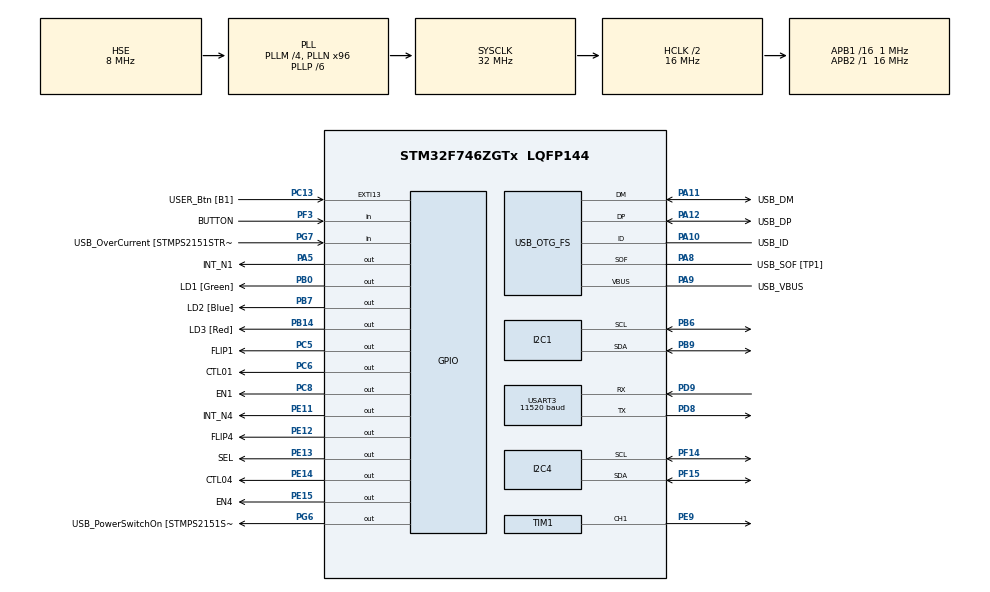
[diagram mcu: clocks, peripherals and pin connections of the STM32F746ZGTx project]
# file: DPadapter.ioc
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I2C1.Timing=0x00000103
I2C4.Timing=0x00000103
Mcu.Family=STM32F7
Mcu.Name=STM32F746ZGTx
Mcu.Package=LQFP144
NVIC.PriorityGroup=NVIC_PRIORITYGROUP_4
PA10.GPIO_Label=USB_ID
PA10.Mode=OTG/Dual_Role_Device
PA10.Signal=USB_OTG_FS_ID
PA11.GPIO_Label=USB_DM
PA11.Mode=OTG/Dual_Role_Device
PA11.Signal=USB_OTG_FS_DM
PA12.GPIO_Label=USB_DP
PA12.Mode=OTG/Dual_Role_Device
PA12.Signal=USB_OTG_FS_DP
PA13.GPIO_Label=TMS
PA13.Mode=Serial_Wire
PA13.Signal=SYS_JTMS-SWDIO
PA14.GPIO_Label=TCK
PA14.Mode=Serial_Wire
PA14.Signal=SYS_JTCK-SWCLK
PA5.GPIO_Label=INT_N1
PA5.Signal=GPIO_Output
PA8.GPIO_Label=USB_SOF [TP1]
PA8.Mode=Activate_SOF_FS
PA8.Signal=USB_OTG_FS_SOF
PA9.GPIO_Label=USB_VBUS
PA9.Mode=Activate_VBUS
PA9.Signal=USB_OTG_FS_VBUS
PB0.GPIO_Label=LD1 [Green]
PB0.Signal=GPIO_Output
PB14.GPIO_Label=LD3 [Red]
PB14.Signal=GPIO_Output
PB6.Mode=I2C
PB6.Signal=I2C1_SCL
PB7.GPIO_Label=LD2 [Blue]
PB7.Signal=GPIO_Output
PB9.Mode=I2C
PB9.Signal=I2C1_SDA
PC13.GPIO_Label=USER_Btn [B1]
PC13.Signal=GPXTI13
PC14/OSC32_IN.Mode=LSE-External-Oscillator
PC14/OSC32_IN.Signal=RCC_OSC32_IN
PC15/OSC32_OUT.Mode=LSE-External-Oscillator
PC15/OSC32_OUT.Signal=RCC_OSC32_OUT
PC5.GPIO_Label=FLIP1
PC5.Signal=GPIO_Output
PC6.GPIO_Label=CTL01
PC6.Signal=GPIO_Output
PC8.GPIO_Label=EN1
PC8.Signal=GPIO_Output
PD8.GPIO_ModeDefaultPP=GPIO_MODE_AF_PP
PD8.GPIO_PuPd=GPIO_NOPULL
PD8.GPIO_Speed=GPIO_SPEED_FREQ_VERY_HIGH
PD8.Mode=Asynchronous
PD8.Signal=USART3_TX
PD9.GPIO_ModeDefaultPP=GPIO_MODE_AF_PP
PD9.GPIO_PuPd=GPIO_NOPULL
PD9.GPIO_Speed=GPIO_SPEED_FREQ_VERY_HIGH
PD9.Mode=Asynchronous
PD9.Signal=USART3_RX
PE11.GPIO_Label=INT_N4
PE11.Signal=GPIO_Output
PE12.GPIO_Label=FLIP4
PE12.Signal=GPIO_Output
PE13.GPIO_Label=SEL
PE13.Signal=GPIO_Output
PE14.GPIO_Label=CTL04
PE14.Signal=GPIO_Output
PE15.GPIO_Label=EN4
PE15.Signal=GPIO_Output
PE9.Signal=S_TIM1_CH1
PF14.Mode=I2C
PF14.Signal=I2C4_SCL
PF15.Mode=I2C
PF15.Signal=I2C4_SDA
PF3.GPIO_Label=BUTTON
PF3.Signal=GPIO_Input
PG6.GPIO_Label=USB_PowerSwitchOn [STMPS2151STR_EN]
PG6.Signal=GPIO_Output
PG7.GPIO_Label=USB_OverCurrent [STMPS2151STR_FAULT]
PG7.Signal=GPIO_Input
PH0/OSC_IN.GPIO_Label=MCO [STM32F103CBT6_PA8]
PH0/OSC_IN.Mode=HSE-External-Clock-Source
PH0/OSC_IN.Signal=RCC_OSC_IN
PH1/OSC_OUT.Mode=HSE-External-Clock-Source
PH1/OSC_OUT.Signal=RCC_OSC_OUT
ProjectManager.HeapSize=0x200
ProjectManager.StackSize=0x400
ProjectManager.TargetToolchain=Makefile
RCC.48MHZClocksFreq_Value=24000000
RCC.AHBCLKDivider=RCC_SYSCLK_DIV2
RCC.AHBFreq_Value=16000000
RCC.APB1CLKDivider=RCC_HCLK_DIV16
RCC.APB1Freq_Value=1000000
RCC.APB1TimFreq_Value=2000000
RCC.APB2Freq_Value=16000000
RCC.APB2TimFreq_Value=16000000
RCC.CortexFreq_Value=16000000
RCC.HCLKFreq_Value=16000000
RCC.HSE_VALUE=8000000
RCC.HSI_VALUE=16000000
RCC.PLLM=4
RCC.PLLMUL=RCC_PLL_MUL9
RCC.PLLN=96
RCC.PLLP=RCC_PLLP_DIV6
RCC.PLLQ=4
RCC.PRESCALERUSB=RCC_USBCLKSOURCE_PLL_DIV1_5
RCC.SYSCLKFreq_VALUE=32000000
RCC.SYSCLKSource=RCC_SYSCLKSOURCE_PLLCLK
RCC.SYSCLKSourceVirtual=RCC_SYSCLKSOURCE_PLLCLK
RCC.USBFreq_Value=48000000
RCC.VCOOutputFreq_Value=192000000
SH.S_TIM1_CH1.0=TIM1_CH1,PWM Generation1 CH1
TIM1.Channel-PWM\ Generation1\ CH1=TIM_CHANNEL_1
USART3.BaudRate=11520
USART3.VirtualMode-Asynchronous=VM_ASYNC
board=NUCLEO-F746ZG

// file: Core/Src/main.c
/* USER CODE BEGIN Header */
/**
  ******************************************************************************
  * @file           : main.c
  * @brief          : Main program body
  ******************************************************************************
  * @attention
  *
  * Copyright (c) 2024 STMicroelectronics.
  * All rights reserved.
  *
  * This software is licensed under terms that can be found in the LICENSE file
  * in the root directory of this software component.
  * If no LICENSE file comes with this software, it is provided AS-IS.
  *
  ******************************************************************************
  */
/* USER CODE END Header */
#include "main.h"

/* USER CODE BEGIN Includes */
#include "pwm_driver.h"
/* USER CODE END Includes */

I2C_HandleTypeDef hi2c1;
I2C_HandleTypeDef hi2c4;

TIM_HandleTypeDef htim1;

UART_HandleTypeDef huart3;

void SystemClock_Config(void);
static void MX_GPIO_Init(void);
static void MX_I2C1_Init(void);
static void MX_I2C4_Init(void);
static void MX_TIM1_Init(void);
static void MX_USART3_UART_Init(void);
static void MX_USB_OTG_FS_USB_Init(void);

int main(void)
{
  /* USER CODE BEGIN 1 */
  /**
   * USB-C Controller
   * I2C-1 (for A) and I2C-4 (for B)
   * TOGGLE = 1, HOST_CUR1 = 0, HOST_CUR0 = 1, VCONN_CC1 = VCONN_CC2 = 0,
   * Mask Register = 0xFE, Maska register = 0xBF, Maskb register = 0x01,
   * PWR = 0x01
   *
   * Acknowledge (A) = SDA LOW
   * NOT Acknowledge (NA) = SDA HIGH
   * Slave address: 0100010X (X is a Read = 1 or a Write = 0)
   *
   *
   * Muxes
   * Enable: initially OFF, set to ON when USB-C communications come in with
   * our configuration.
   * CTL0: Needs to be set LOW, then HIGH, then LOW on startup for DP mode
   * FLIP: Initially OFF, but set to ON if configuration is flipped, do this before enable
   * MUX-A: should be primary (This one emulates the laptop connection)
   * MUX-B should be secondary (This one is for our external connection)
   *
   * Switch
   * SEL: Initially OFF, switch to ON or OFF when BUTTON detects ON
   * BUTTON: Read this for ON detection, switch the SEL when detected
   *
   * Other
   * TIM1_CH11: BL_PWM, make this a constant at first for max brightness,
   * then adjust to see how PWM adjusts the actual brightness, but this
   * isn't necessary for grade
  */

  //MUX Initialization
  HAL_GPIO_WritePin(EN1_GPIO_Port, EN1_Pin, GPIO_PIN_RESET);
  HAL_GPIO_WritePin(EN4_GPIO_Port, EN4_Pin, GPIO_PIN_RESET);
  HAL_GPIO_WritePin(FLIP1_GPIO_Port, FLIP1_Pin, GPIO_PIN_RESET);
  HAL_GPIO_WritePin(FLIP4_GPIO_Port, FLIP4_Pin, GPIO_PIN_RESET);
  HAL_GPIO_WritePin(CTL01_GPIO_Port, CTL01_Pin, GPIO_PIN_RESET);
  HAL_Delay(1);
  HAL_GPIO_WritePin(CTL01_GPIO_Port, CTL01_Pin, GPIO_PIN_SET);
  HAL_Delay(1);
  HAL_GPIO_WritePin(CTL01_GPIO_Port, CTL01_Pin, GPIO_PIN_RESET);
  HAL_GPIO_WritePin(CTL04_GPIO_Port, CTL04_Pin, GPIO_PIN_RESET);
  HAL_Delay(1);
  HAL_GPIO_WritePin(CTL04_GPIO_Port, CTL04_Pin, GPIO_PIN_SET);
  HAL_Delay(1);
  HAL_GPIO_WritePin(CTL04_GPIO_Port, CTL04_Pin, GPIO_PIN_RESET);

  //Switch Initialization
  HAL_GPIO_WritePin(SEL_GPIO_Port, SEL_Pin, GPIO_PIN_RESET);

  //Other Initialization

  /* USER CODE END 1 */

  /* MCU Configuration--------------------------------------------------------*/

  /* Reset of all peripherals, Initializes the Flash interface and the Systick. */
  HAL_Init();

  /* Configure the system clock */
  SystemClock_Config();

  /* Initialize all configured peripherals */
  MX_GPIO_Init();
  MX_I2C1_Init();
  MX_I2C4_Init();
  MX_TIM1_Init();
  MX_USART3_UART_Init();
  MX_USB_OTG_FS_USB_Init();
  /* USER CODE BEGIN 2 */
  pwm_init();
  /* USER CODE END 2 */

  /* Infinite loop */
  /* USER CODE BEGIN WHILE */

  /**
   * FUSB302B
   *
   * I2C
   * SCL: Serial Clock Signal
   * SDA: Serial Data
   * INT: Active LOW, tells the controller to read the I2C register from SDA
   *
   *
   *
  */

  while (1)
  {
    /* USER CODE END WHILE */

  }
}

void SystemClock_Config(void)
{
  RCC_OscInitTypeDef RCC_OscInitStruct = {0};
  RCC_ClkInitTypeDef RCC_ClkInitStruct = {0};

  /** Configure LSE Drive Capability
  */
  HAL_PWR_EnableBkUpAccess();

  /** Configure the main internal regulator output voltage
  */
  __HAL_RCC_PWR_CLK_ENABLE();
  __HAL_PWR_VOLTAGESCALING_CONFIG(PWR_REGULATOR_VOLTAGE_SCALE3);

  /** Initializes the RCC Oscillators according to the specified parameters
  * in the RCC_OscInitTypeDef structure.
  */
  RCC_OscInitStruct.OscillatorType = RCC_OSCILLATORTYPE_HSE;
  RCC_OscInitStruct.HSEState = RCC_HSE_BYPASS;
  RCC_OscInitStruct.PLL.PLLState = RCC_PLL_ON;
  RCC_OscInitStruct.PLL.PLLSource = RCC_PLLSOURCE_HSE;
  RCC_OscInitStruct.PLL.PLLM = 4;
  RCC_OscInitStruct.PLL.PLLN = 96;
  RCC_OscInitStruct.PLL.PLLP = RCC_PLLP_DIV6;
  RCC_OscInitStruct.PLL.PLLQ = 4;
  if (HAL_RCC_OscConfig(&RCC_OscInitStruct) != HAL_OK)
  {
    Error_Handler();
  }

  /** Initializes the CPU, AHB and APB buses clocks
  */
  RCC_ClkInitStruct.ClockType = RCC_CLOCKTYPE_HCLK|RCC_CLOCKTYPE_SYSCLK
                              |RCC_CLOCKTYPE_PCLK1|RCC_CLOCKTYPE_PCLK2;
  RCC_ClkInitStruct.SYSCLKSource = RCC_SYSCLKSOURCE_PLLCLK;
  RCC_ClkInitStruct.AHBCLKDivider = RCC_SYSCLK_DIV2;
  RCC_ClkInitStruct.APB1CLKDivider = RCC_HCLK_DIV16;
  RCC_ClkInitStruct.APB2CLKDivider = RCC_HCLK_DIV1;

  if (HAL_RCC_ClockConfig(&RCC_ClkInitStruct, FLASH_LATENCY_0) != HAL_OK)
  {
    Error_Handler();
  }
}

static void MX_I2C1_Init(void)
{

  hi2c1.Instance = I2C1;
  hi2c1.Init.Timing = 0x00000103;
  hi2c1.Init.OwnAddress1 = 0;
  hi2c1.Init.AddressingMode = I2C_ADDRESSINGMODE_7BIT;
  hi2c1.Init.DualAddressMode = I2C_DUALADDRESS_DISABLE;
  hi2c1.Init.OwnAddress2 = 0;
  hi2c1.Init.OwnAddress2Masks = I2C_OA2_NOMASK;
  hi2c1.Init.GeneralCallMode = I2C_GENERALCALL_DISABLE;
  hi2c1.Init.NoStretchMode = I2C_NOSTRETCH_DISABLE;
  if (HAL_I2C_Init(&hi2c1) != HAL_OK)
  {
    Error_Handler();
  }

  /** Configure Analogue filter
  */
  if (HAL_I2CEx_ConfigAnalogFilter(&hi2c1, I2C_ANALOGFILTER_ENABLE) != HAL_OK)
  {
    Error_Handler();
  }

  /** Configure Digital filter
  */
  if (HAL_I2CEx_ConfigDigitalFilter(&hi2c1, 0) != HAL_OK)
  {
    Error_Handler();
  }

}

static void MX_I2C4_Init(void)
{

  hi2c4.Instance = I2C4;
  hi2c4.Init.Timing = 0x00000103;
  hi2c4.Init.OwnAddress1 = 0;
  hi2c4.Init.AddressingMode = I2C_ADDRESSINGMODE_7BIT;
  hi2c4.Init.DualAddressMode = I2C_DUALADDRESS_DISABLE;
  hi2c4.Init.OwnAddress2 = 0;
  hi2c4.Init.OwnAddress2Masks = I2C_OA2_NOMASK;
  hi2c4.Init.GeneralCallMode = I2C_GENERALCALL_DISABLE;
  hi2c4.Init.NoStretchMode = I2C_NOSTRETCH_DISABLE;
  if (HAL_I2C_Init(&hi2c4) != HAL_OK)
  {
    Error_Handler();
  }

  /** Configure Analogue filter
  */
  if (HAL_I2CEx_ConfigAnalogFilter(&hi2c4, I2C_ANALOGFILTER_ENABLE) != HAL_OK)
  {
    Error_Handler();
  }

  /** Configure Digital filter
  */
  if (HAL_I2CEx_ConfigDigitalFilter(&hi2c4, 0) != HAL_OK)
  {
    Error_Handler();
  }

}

static void MX_TIM1_Init(void)
{

  TIM_MasterConfigTypeDef sMasterConfig = {0};
  TIM_OC_InitTypeDef sConfigOC = {0};
  TIM_BreakDeadTimeConfigTypeDef sBreakDeadTimeConfig = {0};

  htim1.Instance = TIM1;
  htim1.Init.Prescaler = 0;
  htim1.Init.CounterMode = TIM_COUNTERMODE_UP;
  htim1.Init.Period = 65535;
  htim1.Init.ClockDivision = TIM_CLOCKDIVISION_DIV1;
  htim1.Init.RepetitionCounter = 0;
  htim1.Init.AutoReloadPreload = TIM_AUTORELOAD_PRELOAD_DISABLE;
  if (HAL_TIM_PWM_Init(&htim1) != HAL_OK)
  {
    Error_Handler();
  }
  sMasterConfig.MasterOutputTrigger = TIM_TRGO_RESET;
  sMasterConfig.MasterOutputTrigger2 = TIM_TRGO2_RESET;
  sMasterConfig.MasterSlaveMode = TIM_MASTERSLAVEMODE_DISABLE;
  if (HAL_TIMEx_MasterConfigSynchronization(&htim1, &sMasterConfig) != HAL_OK)
  {
    Error_Handler();
  }
  sConfigOC.OCMode = TIM_OCMODE_PWM1;
  sConfigOC.Pulse = 0;
  sConfigOC.OCPolarity = TIM_OCPOLARITY_HIGH;
  sConfigOC.OCNPolarity = TIM_OCNPOLARITY_HIGH;
  sConfigOC.OCFastMode = TIM_OCFAST_DISABLE;
  sConfigOC.OCIdleState = TIM_OCIDLESTATE_RESET;
  sConfigOC.OCNIdleState = TIM_OCNIDLESTATE_RESET;
  if (HAL_TIM_PWM_ConfigChannel(&htim1, &sConfigOC, TIM_CHANNEL_1) != HAL_OK)
  {
    Error_Handler();
  }
  sBreakDeadTimeConfig.OffStateRunMode = TIM_OSSR_DISABLE;
  sBreakDeadTimeConfig.OffStateIDLEMode = TIM_OSSI_DISABLE;
  sBreakDeadTimeConfig.LockLevel = TIM_LOCKLEVEL_OFF;
  sBreakDeadTimeConfig.DeadTime = 0;
  sBreakDeadTimeConfig.BreakState = TIM_BREAK_DISABLE;
  sBreakDeadTimeConfig.BreakPolarity = TIM_BREAKPOLARITY_HIGH;
  sBreakDeadTimeConfig.BreakFilter = 0;
  sBreakDeadTimeConfig.Break2State = TIM_BREAK2_DISABLE;
  sBreakDeadTimeConfig.Break2Polarity = TIM_BREAK2POLARITY_HIGH;
  sBreakDeadTimeConfig.Break2Filter = 0;
  sBreakDeadTimeConfig.AutomaticOutput = TIM_AUTOMATICOUTPUT_DISABLE;
  if (HAL_TIMEx_ConfigBreakDeadTime(&htim1, &sBreakDeadTimeConfig) != HAL_OK)
  {
    Error_Handler();
  }
  HAL_TIM_MspPostInit(&htim1);

}

static void MX_USART3_UART_Init(void)
{

  huart3.Instance = USART3;
  huart3.Init.BaudRate = 11520;
  huart3.Init.WordLength = UART_WORDLENGTH_8B;
  huart3.Init.StopBits = UART_STOPBITS_1;
  huart3.Init.Parity = UART_PARITY_NONE;
  huart3.Init.Mode = UART_MODE_TX_RX;
  huart3.Init.HwFlowCtl = UART_HWCONTROL_NONE;
  huart3.Init.OverSampling = UART_OVERSAMPLING_16;
  huart3.Init.OneBitSampling = UART_ONE_BIT_SAMPLE_DISABLE;
  huart3.AdvancedInit.AdvFeatureInit = UART_ADVFEATURE_NO_INIT;
  if (HAL_UART_Init(&huart3) != HAL_OK)
  {
    Error_Handler();
  }

}

static void MX_USB_OTG_FS_USB_Init(void)
{

}

static void MX_GPIO_Init(void)
{
  GPIO_InitTypeDef GPIO_InitStruct = {0};

  /* GPIO Ports Clock Enable */
  __HAL_RCC_GPIOC_CLK_ENABLE();
  __HAL_RCC_GPIOF_CLK_ENABLE();
  __HAL_RCC_GPIOH_CLK_ENABLE();
  __HAL_RCC_GPIOA_CLK_ENABLE();
  __HAL_RCC_GPIOB_CLK_ENABLE();
  __HAL_RCC_GPIOE_CLK_ENABLE();
  __HAL_RCC_GPIOD_CLK_ENABLE();
  __HAL_RCC_GPIOG_CLK_ENABLE();

  /*Configure GPIO pin Output Level */
  HAL_GPIO_WritePin(INT_N1_GPIO_Port, INT_N1_Pin, GPIO_PIN_RESET);

  /*Configure GPIO pin Output Level */
  HAL_GPIO_WritePin(GPIOC, FLIP1_Pin|CTL01_Pin|EN1_Pin, GPIO_PIN_RESET);

  /*Configure GPIO pin Output Level */
  HAL_GPIO_WritePin(GPIOB, LD1_Pin|LD3_Pin|LD2_Pin, GPIO_PIN_RESET);

  /*Configure GPIO pin Output Level */
  HAL_GPIO_WritePin(GPIOE, INT_N4_Pin|FLIP4_Pin|SEL_Pin|CTL04_Pin
                          |EN4_Pin, GPIO_PIN_RESET);

  /*Configure GPIO pin Output Level */
  HAL_GPIO_WritePin(USB_PowerSwitchOn_GPIO_Port, USB_PowerSwitchOn_Pin, GPIO_PIN_RESET);

  /*Configure GPIO pin : USER_Btn_Pin */
  GPIO_InitStruct.Pin = USER_Btn_Pin;
  GPIO_InitStruct.Mode = GPIO_MODE_IT_RISING;
  GPIO_InitStruct.Pull = GPIO_NOPULL;
  HAL_GPIO_Init(USER_Btn_GPIO_Port, &GPIO_InitStruct);

  /*Configure GPIO pin : BUTTON_Pin */
  GPIO_InitStruct.Pin = BUTTON_Pin;
  GPIO_InitStruct.Mode = GPIO_MODE_INPUT;
  GPIO_InitStruct.Pull = GPIO_NOPULL;
  HAL_GPIO_Init(BUTTON_GPIO_Port, &GPIO_InitStruct);

  /*Configure GPIO pin : INT_N1_Pin */
  GPIO_InitStruct.Pin = INT_N1_Pin;
  GPIO_InitStruct.Mode = GPIO_MODE_OUTPUT_PP;
  GPIO_InitStruct.Pull = GPIO_NOPULL;
  GPIO_InitStruct.Speed = GPIO_SPEED_FREQ_LOW;
  HAL_GPIO_Init(INT_N1_GPIO_Port, &GPIO_InitStruct);

  /*Configure GPIO pins : FLIP1_Pin CTL01_Pin EN1_Pin */
  GPIO_InitStruct.Pin = FLIP1_Pin|CTL01_Pin|EN1_Pin;
  GPIO_InitStruct.Mode = GPIO_MODE_OUTPUT_PP;
  GPIO_InitStruct.Pull = GPIO_NOPULL;
  GPIO_InitStruct.Speed = GPIO_SPEED_FREQ_LOW;
  HAL_GPIO_Init(GPIOC, &GPIO_InitStruct);

  /*Configure GPIO pins : LD1_Pin LD3_Pin LD2_Pin */
  GPIO_InitStruct.Pin = LD1_Pin|LD3_Pin|LD2_Pin;
  GPIO_InitStruct.Mode = GPIO_MODE_OUTPUT_PP;
  GPIO_InitStruct.Pull = GPIO_NOPULL;
  GPIO_InitStruct.Speed = GPIO_SPEED_FREQ_LOW;
  HAL_GPIO_Init(GPIOB, &GPIO_InitStruct);

  /*Configure GPIO pins : INT_N4_Pin FLIP4_Pin SEL_Pin CTL04_Pin
                           EN4_Pin */
  GPIO_InitStruct.Pin = INT_N4_Pin|FLIP4_Pin|SEL_Pin|CTL04_Pin
                          |EN4_Pin;
  GPIO_InitStruct.Mode = GPIO_MODE_OUTPUT_PP;
  GPIO_InitStruct.Pull = GPIO_NOPULL;
  GPIO_InitStruct.Speed = GPIO_SPEED_FREQ_LOW;
  HAL_GPIO_Init(GPIOE, &GPIO_InitStruct);

  /*Configure GPIO pin : USB_PowerSwitchOn_Pin */
  GPIO_InitStruct.Pin = USB_PowerSwitchOn_Pin;
  GPIO_InitStruct.Mode = GPIO_MODE_OUTPUT_PP;
  GPIO_InitStruct.Pull = GPIO_NOPULL;
  GPIO_InitStruct.Speed = GPIO_SPEED_FREQ_LOW;
  HAL_GPIO_Init(USB_PowerSwitchOn_GPIO_Port, &GPIO_InitStruct);

  /*Configure GPIO pin : USB_OverCurrent_Pin */
  GPIO_InitStruct.Pin = USB_OverCurrent_Pin;
  GPIO_InitStruct.Mode = GPIO_MODE_INPUT;
  GPIO_InitStruct.Pull = GPIO_NOPULL;
  HAL_GPIO_Init(USB_OverCurrent_GPIO_Port, &GPIO_InitStruct);

  /*Configure GPIO pins : USB_SOF_Pin USB_ID_Pin USB_DM_Pin USB_DP_Pin */
  GPIO_InitStruct.Pin = USB_SOF_Pin|USB_ID_Pin|USB_DM_Pin|USB_DP_Pin;
  GPIO_InitStruct.Mode = GPIO_MODE_AF_PP;
  GPIO_InitStruct.Pull = GPIO_NOPULL;
  GPIO_InitStruct.Speed = GPIO_SPEED_FREQ_VERY_HIGH;
  GPIO_InitStruct.Alternate = GPIO_AF10_OTG_FS;
  HAL_GPIO_Init(GPIOA, &GPIO_InitStruct);

  /*Configure GPIO pin : USB_VBUS_Pin */
  GPIO_InitStruct.Pin = USB_VBUS_Pin;
  GPIO_InitStruct.Mode = GPIO_MODE_INPUT;
  GPIO_InitStruct.Pull = GPIO_NOPULL;
  HAL_GPIO_Init(USB_VBUS_GPIO_Port, &GPIO_InitStruct);

}

void Error_Handler(void)
{
  __disable_irq();
  while (1)
  {
  }
}
